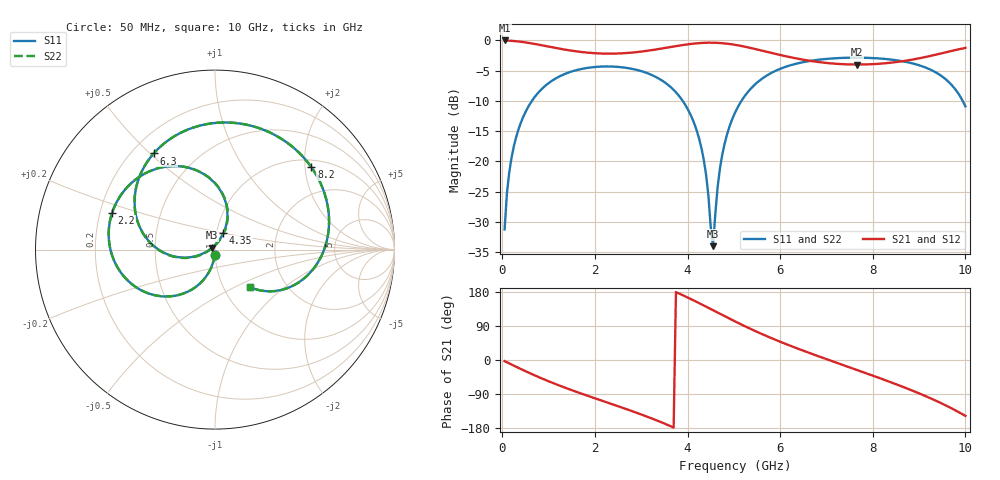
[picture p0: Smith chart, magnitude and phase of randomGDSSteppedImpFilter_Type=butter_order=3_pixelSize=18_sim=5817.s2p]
! freq	dB(S11)	phase(S11)	dB(S12)	phase(S12)
!  dB(S21)	phase(S21)	dB(S22)	phase(S22)
!S-par simulation data
#  GHz  S  DB  R 50
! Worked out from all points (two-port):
!   200 points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, 50 MHz to 10 GHz, reference 50 ohm
!   highest |S21| = -0.01 dB at 50 MHz (marker M1); lowest = -4.0 dB at 7.65 GHz (marker M2)
!   |S21| within 3 dB of the highest: start of sweep to 6.368 GHz; 8.97 GHz to end of sweep
!   lowest |S11| = -34.0 dB at 4.55 GHz (marker M3), VSWR 1.04, Z = 48.4 + j1.13 ohm
!   |S11| at or under -10 dB: start of sweep to 640.1 MHz; 3.896 GHz to 5.165 GHz (1.269 GHz wide, 28 % of centre); 9.942 GHz to end of sweep
!   |S22| runs from -35.1 to -2.8 dB; largest |S21 - S12| = 0
!   S11 on the Smith chart (normalised r, x): 50 MHz: 1.00, -0.05; 2.2 GHz: 0.25, +0.16; 4.35 GHz: 1.08, +0.20; 6.3 GHz: 0.29, +0.51; 8.2 GHz: 1.18, +2.16; 10 GHz: 1.33, -0.60
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0.05  -31.25 -93.2  -0.01 -3.1  -0.01 -3.1  -31.25 -93.2
0.1  -25.28 -96.5  -0.02 -6.1  -0.02 -6.1  -25.28 -96.5
0.2  -19.37 -102.5  -0.07 -12.0  -0.07 -12.0  -19.37 -102.5
0.5  -11.85 -119.9  -0.33 -29.5  -0.33 -29.5  -11.85 -119.9
1.05  -6.79 -149.0  -1.10 -58.6  -1.10 -58.6  -6.79 -149.1
1.75  -4.66 179.0  -1.95 -90.5  -1.95 -90.5  -4.66 179.0
2.2  -4.31 160.2  -2.18 -109.4  -2.18 -109.4  -4.31 160.1
3.4  -6.39 107.9  -1.39 -162.6  -1.39 -162.6  -6.40 107.7
4  -11.30 77.5  -0.65 165.0  -0.65 165.0  -11.30 77.0
4.35  -19.70 63.0  -0.40 144.0  -0.40 144.0  -19.73 61.7
4.45  -25.62 67.3  -0.38 137.7  -0.38 137.7  -25.76 64.7
4.55  -34.02 144.1  -0.38 131.5  -0.38 131.5  -35.08 145.8
4.7  -21.17 -161.0  -0.43 122.0  -0.43 122.0  -21.22 -159.4
5.05  -11.56 -174.1  -0.76 100.4  -0.76 100.4  -11.57 -173.7
5.65  -6.11 154.0  -1.77 66.1  -1.77 66.1  -6.11 154.2
6.3  -3.94 122.5  -2.90 33.8  -2.90 33.8  -3.94 122.6
6.7  -3.33 104.7  -3.44 15.5  -3.44 15.5  -3.33 104.7
7.65  -2.85 64.1  -3.99 -25.9  -3.99 -25.9  -2.85 64.1
8.2  -3.02 40.5  -3.82 -50.1  -3.82 -50.1  -3.02 40.5
8.35  -3.13 33.9  -3.72 -56.9  -3.72 -56.9  -3.13 33.9
9.35  -5.24 -13.3  -2.38 -106.7  -2.38 -106.7  -5.24 -13.4
10  -10.90 -46.9  -1.24 -147.4  -1.24 -147.4  -10.90 -47.1
